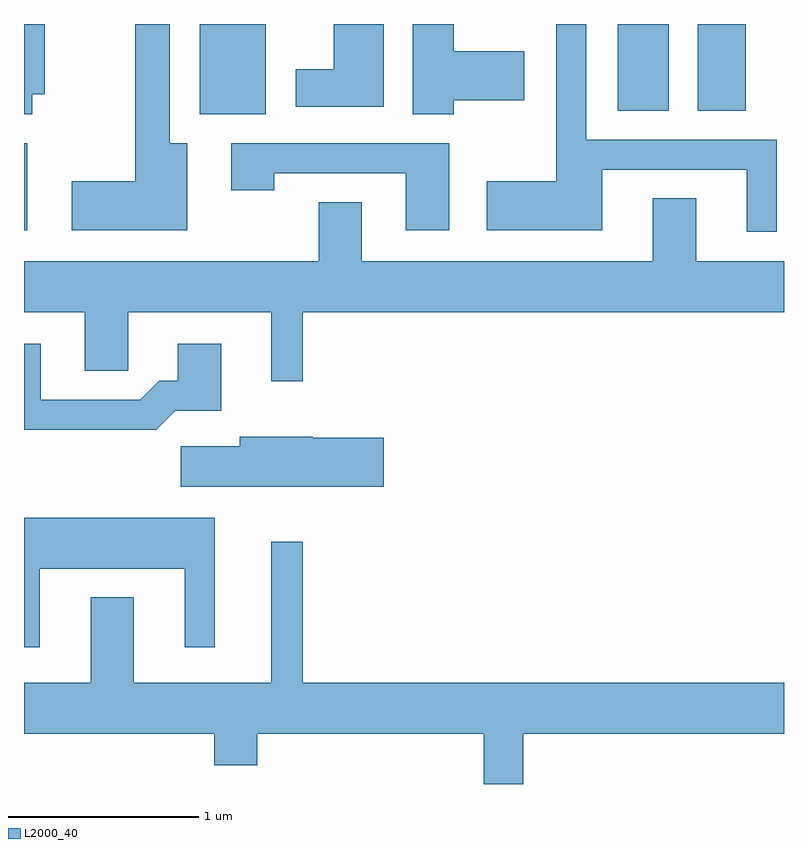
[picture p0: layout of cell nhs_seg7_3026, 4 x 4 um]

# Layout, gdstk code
import gdstk
lib = gdstk.Library(unit=1e-6, precision=1e-09)
def R(c, l, rs):  # rectangles x0, y0, x1, y1
    for r in rs: c.add(gdstk.rectangle(r[:2], r[2:], *l))
def P(c, l, *ps):  # polygons
    for p in ps: c.add(gdstk.Polygon(p, *l))
L2000_40 = (2000, 40)

nhs_seg7_3026 = lib.new_cell('nhs_seg7_3026')
R(nhs_seg7_3026, L2000_40, [(277.611,1739.166,277.629,1739.624), (278.536,1739.776,278.884,1740.252), (280.736,1739.796,281.004,1740.252), (281.156,1739.796,281.409,1740.252)])
P(nhs_seg7_3026, L2000_40, [(277.654,1739.881),(277.719,1739.881),(277.719,1740.252),(277.611,1740.252),(277.611,1739.776),(277.654,1739.776)],
  [(279.504,1740.252),(279.241,1740.252),(279.241,1740.014),(279.041,1740.014),(279.041,1739.816),(279.504,1739.816)],
  [(278.469,1739.624),(278.379,1739.624),(278.379,1740.252),(278.196,1740.252),(278.196,1739.424),(277.861,1739.424),(277.861,1739.166),(278.469,1739.166)],
  [(281.574,1739.644),(280.569,1739.644),(280.569,1740.252),(280.411,1740.252),(280.411,1739.424),(280.046,1739.424),(280.046,1739.166),(280.654,1739.166),(280.654,1739.486),(281.416,1739.486),(281.416,1739.158),(281.574,1739.158)],
  [(279.874,1739.851),(280.244,1739.851),(280.244,1740.109),(279.874,1740.109),(279.874,1740.252),(279.656,1740.252),(279.656,1739.776),(279.874,1739.776)],
  [(279.849,1739.624),(278.701,1739.624),(278.701,1739.376),(278.929,1739.376),(278.929,1739.466),(279.621,1739.466),(279.621,1739.166),(279.849,1739.166)],
  [(279.079,1738.736),(281.611,1738.736),(281.611,1739.004),(281.149,1739.004),(281.149,1739.334),(280.921,1739.334),(280.921,1739.004),(279.389,1739.004),(279.389,1739.314),(279.161,1739.314),(279.161,1739.004),(277.611,1739.004),(277.611,1738.736),(277.931,1738.736),(277.931,1738.426),(278.159,1738.426),(278.159,1738.736),(278.911,1738.736),(278.911,1738.373),(279.079,1738.373)],
  [(278.407,1738.216),(278.649,1738.216),(278.649,1738.569),(278.421,1738.569),(278.421,1738.374),(278.324,1738.374),(278.224,1738.274),(277.699,1738.274),(277.699,1738.569),(277.611,1738.569),(277.611,1738.116),(278.307,1738.116)],
  [(279.504,1738.074),(279.13,1738.074),(279.13,1738.079),(278.746,1738.079),(278.746,1738.029),(278.436,1738.029),(278.436,1737.816),(279.504,1737.816)],
  [(277.694,1737.386),(278.456,1737.386),(278.456,1736.973),(278.614,1736.973),(278.614,1737.654),(277.611,1737.654),(277.611,1736.973),(277.694,1736.973)],
  [(280.239,1736.516),(281.611,1736.516),(281.611,1736.784),(279.079,1736.784),(279.079,1737.528),(278.911,1737.528),(278.911,1736.784),(278.189,1736.784),(278.189,1737.234),(277.961,1737.234),(277.961,1736.784),(277.611,1736.784),(277.611,1736.516),(278.611,1736.516),(278.611,1736.351),(278.839,1736.351),(278.839,1736.516),(280.031,1736.516),(280.031,1736.252),(280.239,1736.252)])

lib.write_gds('nhs_seg7_3026.gds')
